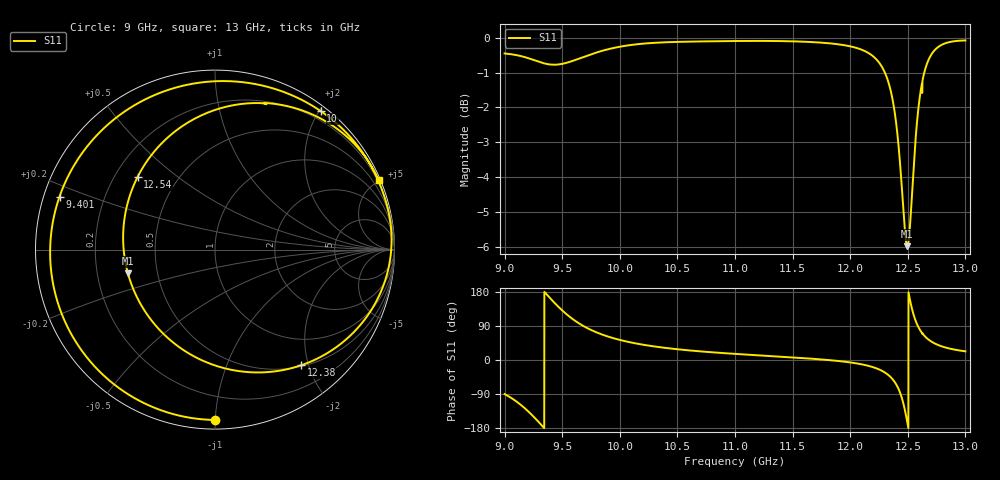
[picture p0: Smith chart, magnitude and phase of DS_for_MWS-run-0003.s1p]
! TOUCHSTONE file generated by CST DESIGN STUDIO
! Date and time: Tue Feb  4 13:14:49 2025
! Project name: C:\Work\MatlabApps\UnitCellOptimizationMatlab\CST\unitcell.cst
! Tree item: Tasks\Sweep1\SPara1\S-Parameters
! Header version: 2024
! Port assignment regex: !\s*Touchstone port\s*([0-9]+)\s*=\s*(CST MWS port|CST DES external port|CST DES block port)\s*(.+)\s* \(\"(.*)\"\)(\s*mode\s*([0-9]+))?.*
! Touchstone port assignment:
! Touchstone port 1 = CST DES external port 1 ("")
# GHz S MA R 50
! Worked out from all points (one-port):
!   4001 points, 9 GHz to 13 GHz, reference 50 ohm
!   lowest |S11| = -6.0 dB at 12.5 GHz (marker M1), VSWR 3.02, Z = 16.8 - j5.9 ohm
!   |S11| at or under -10 dB: nowhere
!   S11 on the Smith chart (normalised r, x): 9 GHz: 0.05, -1.00; 9.401 GHz: 0.05, +0.17; 10 GHz: 0.08, +2.02; 12.38 GHz: 0.52, -1.88; 12.54 GHz: 0.29, +0.37; 13 GHz: 0.12, +4.94
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9  0.9493 -89.9
9.104  0.9439 -109.8
9.191  0.9361 -131.6
9.303  0.9228 -166.1
9.401  0.9151 161.2
9.5  0.9172 130.9
9.583  0.9253 109.8
9.679  0.9375 90.6
9.828  0.9555 69.3
10  0.9705 53.0
10.004  0.9707 52.7
10.5  0.9861 28.3
11  0.9889 16.1
11.5  0.9879 6.8
12  0.9718 -6.4
12.249  0.9219 -24.7
12.32  0.8751 -37.0
12.375  0.8034 -53.4
12.443  0.6275 -94.9
12.496  0.5029 -164.9
12.5  0.5041 -171.4
12.535  0.5917 136.8
12.564  0.7032 106.8
12.596  0.8026 84.6
12.643  0.8911 64.2
12.701  0.9438 49.3
12.816  0.9802 33.9
13  0.9908 22.9
